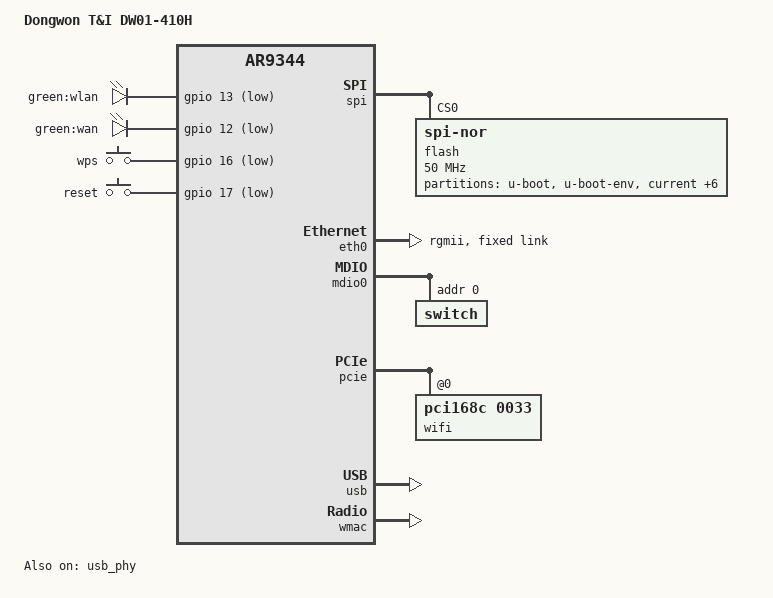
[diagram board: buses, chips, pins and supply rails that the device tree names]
// SPDX-License-Identifier: GPL-2.0-or-later OR MIT

#include "ar9344.dtsi"

#include <dt-bindings/gpio/gpio.h>
#include <dt-bindings/input/input.h>

/ {
	compatible = "dongwon,dw01-410h", "qca,ar9344";
	model = "Dongwon T&I DW01-410H";

	aliases {
		led-boot = &led_wan;
		led-failsafe = &led_wan;
		led-upgrade = &led_wan;
	};

	leds {
		compatible = "gpio-leds";

		wlan {
			label = "green:wlan";
			gpios = <&gpio 13 GPIO_ACTIVE_LOW>;
		};

		led_wan: wan {
			label = "green:wan";
			gpios = <&gpio 12 GPIO_ACTIVE_LOW>;
		};
	};

	keys {
		compatible = "gpio-keys";

		wps {
			label = "wps";
			gpios = <&gpio 16 GPIO_ACTIVE_LOW>;
			linux,code = <KEY_WPS_BUTTON>;
		};

		reset {
			label = "reset";
			gpios = <&gpio 17 GPIO_ACTIVE_LOW>;
			linux,code = <KEY_RESTART>;
		};
	};
};

&ref {
	clock-frequency = <40000000>;
};

&spi {
	status = "okay";

	flash@0 {
		compatible = "jedec,spi-nor";
		reg = <0>;
		spi-max-frequency = <50000000>;

		partitions {
			compatible = "fixed-partitions";
			#address-cells = <1>;
			#size-cells = <1>;

			partition@0 {
				label = "u-boot";
				reg = <0x0 0x40000>;
				read-only;
			};

			partition@40000 {
				label = "u-boot-env";
				reg = <0x40000 0x10000>;
			};

			partition@50000 {
				label = "current";
				reg = <0x50000 0x7b0000>;
				read-only;
			};

			partition@800000 {
				compatible = "dongwon,uimage";
				label = "firmware";
				reg = <0x800000 0x7b0000>;
			};

			partition@fb0000 {
				label = "log";
				reg = <0xfb0000 0x10000>;
				read-only;
			};

			partition@fc0000 {
				label = "voc";
				reg = <0xfc0000 0x10000>;
				read-only;
			};

			partition@fd0000 {
				label = "nvbackup";
				reg = <0xfd0000 0x10000>;
				read-only;
			};

			partition@fe0000 {
				label = "nvram";
				reg = <0xfe0000 0x10000>;
				read-only;
			};

			art: partition@ff0000 {
				label = "art";
				reg = <0xff0000 0x10000>;
				read-only;
			};
		};
	};
};

&eth0 {
	status = "okay";

	/* default for ar934x, except for 1000M */
	pll-data = <0x06000000 0x00000101 0x00001616>;

	mtd-mac-address = <&art 0x6>;

	phy-mode = "rgmii";

	fixed-link {
		speed = <1000>;
		full-duplex;
		pause;
	};
};

&mdio0 {
	status = "okay";

	switch@0 {
		reg = <0x0>;
		qca,ar8327-initvals = <
			0x0004 0x07600000  /* PORT0_PAD_CTRL */
			0x0050 0xcf37cf37  /* LED_CTRL0 */
			0x0054 0x00000000  /* LED_CTRL1 */
			0x0058 0x00000000  /* LED_CTRL2 */
			0x005c 0x0030c300  /* LED_CTRL3 */
			0x007c 0x0000007e  /* PORT0_STATUS */
		>;
	};
};

&pcie {
	status = "okay";

	wifi@0,0 {
		compatible = "pci168c,0033";
		reg = <0x0000 0 0 0 0>;
		qca,no-eeprom;
		mtd-mac-address = <&art 0x0>;
		mtd-mac-address-increment = <4>;
	};
};

&usb {
	status = "okay";

	#address-cells = <1>;
	#size-cells = <0>;

	port@1 {
		reg = <1>;
		#trigger-source-cells = <0>;
	};
};

&usb_phy {
	status = "okay";
};

&wmac {
	status = "okay";

	mtd-cal-data = <&art 0x1000>;
	mtd-mac-address = <&art 0x0>;
	mtd-mac-address-increment = <3>;
};
